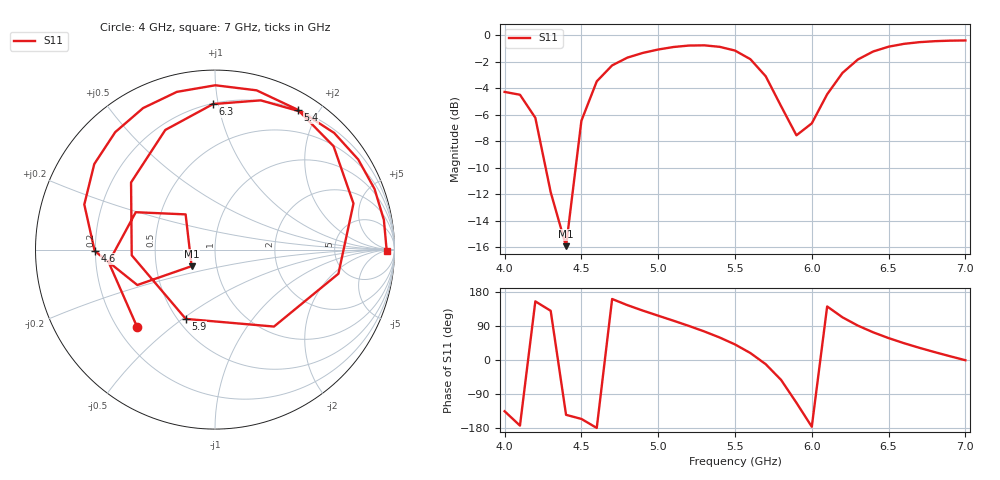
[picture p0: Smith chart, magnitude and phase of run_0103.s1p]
! Touchstone file exported from HFSS 2024.2.0
!  File:  C:/Users/wsak9/Desktop/Sim Fast/Widenad Patch/WP_AI_V1_sweep.aedt
!  Generated:  07:12:51 PM Oct 13, 2026
!  Design:  A1_model
!  Project:  WP_AI_V1_sweep
!  Setup:  Setup1
!  Solution:  Sweep
! Variables:
!  Air_gap = 3.71mm
!  Curve_Amp1 = 3.48
!  Curve_len1 = 1
!  Curve_pos = 13.23mm
!  Extra = 6.51mm
!  H_sub = 0.79mm
!  L_Patch = 22.46mm
!  L_Patch1 = 19.31mm
!  Sx = 2.07mm
!  Sy = 3.83mm
!  WS = 0.48mm
!  W_Patch = 12.38mm
!  W_Patch1 = 12.8mm
!Data is not renormalized
# GHz S MA
! Terminal data exported
! Port[1] = 1
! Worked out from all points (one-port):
!   31 points, 4 GHz to 7 GHz, reference per port
!   lowest |S11| = -15.9 dB at 4.4 GHz (marker M1), VSWR 1.38
!   |S11| at or under -10 dB: 4.267 GHz to 4.463 GHz (195.5 MHz wide, 4.48 % of centre)
!   S11 on the Smith chart (normalised r, x): 4 GHz: 0.28, -0.38; 4.6 GHz: 0.20, -0.01; 5.4 GHz: 0.20, +1.74; 5.9 GHz: 0.55, -0.51; 6.3 GHz: 0.20, +0.97; 7 GHz: 43, -10
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4  0.6115 -135.2
4.1  0.5966 -173.2
4.2  0.4881 154.7
4.3  0.2555 129.8
4.4  0.1596 -144.7
4.5  0.4757 -155.5
4.6  0.6705 -179.4
4.7  0.7703 161.0
4.8  0.8245 144.7
5  0.8845 116.9
5.1  0.9041 103.6
5.2  0.9156 89.9
5.3  0.9171 75.4
5.4  0.9054 59.4
5.5  0.8765 41.1
5.6  0.8131 18.4
5.7  0.7007 -11.0
5.8  0.5402 -52.5
5.9  0.4191 -112.9
6  0.4651 -176.1
6.1  0.599 141.3
6.2  0.7218 112.6
6.3  0.811 90.8
6.4  0.8697 73.0
6.5  0.9065 57.8
6.7  0.9429 32.2
6.8  0.9509 20.8
7  0.9571 -0.6
